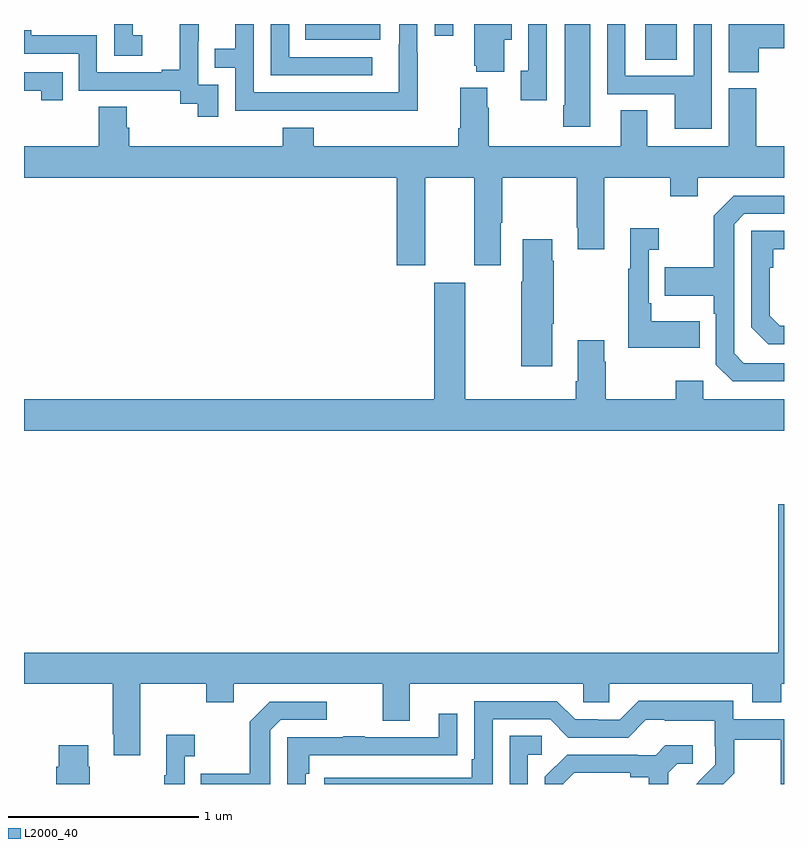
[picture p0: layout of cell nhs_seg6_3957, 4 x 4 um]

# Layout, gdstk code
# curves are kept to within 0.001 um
import gdstk
lib = gdstk.Library(unit=1e-6, precision=1e-09)
def R(c, l, rs):  # rectangles x0, y0, x1, y1
    for r in rs: c.add(gdstk.rectangle(r[:2], r[2:], *l))
def P(c, l, *ps):  # polygons
    for p in ps: c.add(gdstk.Polygon(p, *l))
L2000_40 = (2000, 40)

nhs_seg6_3957 = lib.new_cell('nhs_seg6_3957')
R(nhs_seg6_3957, L2000_40, [(348.269,925.312,348.436,925.5), (346.48,925.418,346.876,925.5), (347.163,925.437,347.259,925.5)])
P(nhs_seg6_3957, L2000_40, [(347.527,925.418),(347.566,925.418),(347.566,925.5),(347.369,925.5),(347.369,925.281),(347.381,925.281),(347.381,925.25),(347.527,925.25)],
  [(346.023,925.179),(345.918,925.179),(345.918,925.409),(345.92,925.409),(345.92,925.5),(345.821,925.5),(345.821,925.258),(345.725,925.258),(345.725,925.245),(345.384,925.245),(345.384,925.44),(345.039,925.44),(345.039,925.467),(345,925.467),(345,925.344),(345.288,925.344),(345.288,925.149),(345.822,925.149),(345.822,925.081),(345.915,925.081),(345.915,925.011),(346.023,925.011)],
  [(348.867,925.372),(349,925.372),(349,925.5),(348.71,925.5),(348.71,925.246),(348.867,925.246)],
  [(347.751,925.5),(347.655,925.5),(347.655,925.254),(347.615,925.254),(347.615,925.098),(347.751,925.098)],
  [(347.073,925.349),(347.07,925.349),(347.07,925.5),(346.974,925.5),(346.974,925.394),(346.973,925.394),(346.973,925.14),(346.209,925.14),(346.209,925.5),(346.113,925.5),(346.113,925.37),(346.003,925.37),(346.003,925.269),(346.113,925.269),(346.113,925.044),(346.609,925.044),(346.609,925.043),(347.073,925.043)],
  [(348.621,925.5),(348.525,925.5),(348.525,925.227),(348.165,925.227),(348.165,925.5),(348.069,925.5),(348.069,925.131),(348.425,925.131),(348.425,924.95),(348.621,924.95)],
  [(345.622,925.441),(345.573,925.441),(345.573,925.5),(345.474,925.5),(345.474,925.332),(345.622,925.332)],
  [(346.834,925.326),(346.395,925.326),(346.395,925.5),(346.299,925.5),(346.299,925.23),(346.834,925.23)],
  [(347.98,925.5),(347.846,925.5),(347.846,925.072),(347.839,925.072),(347.839,924.96),(347.98,924.96)],
  [(345.203,925.245),(345,925.245),(345,925.149),(345.092,925.149),(345.092,925.098),(345.203,925.098)],
  [(347.113,924.692),(347.369,924.692),(347.369,924.231),(347.509,924.231),(347.509,924.454),(347.517,924.454),(347.517,924.692),(347.908,924.692),(347.908,924.427),(347.915,924.427),(347.915,924.315),(348.055,924.315),(348.055,924.692),(348.4,924.692),(348.4,924.593),(348.547,924.593),(348.547,924.692),(349,924.692),(349,924.856),(348.854,924.856),(348.854,925.161),(348.71,925.161),(348.71,924.856),(348.28,924.856),(348.28,925.046),(348.14,925.046),(348.14,924.856),(347.445,924.856),(347.445,925.058),(347.437,925.058),(347.437,925.165),(347.297,925.165),(347.297,924.952),(347.285,924.952),(347.285,924.856),(346.526,924.856),(346.526,924.955),(346.361,924.955),(346.361,924.856),(345.554,924.856),(345.554,924.954),(345.541,924.954),(345.541,925.064),(345.394,925.064),(345.394,924.856),(345,924.856),(345,924.692),(346.961,924.692),(346.961,924.231),(347.113,924.231)],
  [(349,923.715),(348.789,923.715),(348.738,923.766),(348.738,924.447),(348.792,924.501),(349,924.501),(349,924.597),(348.735,924.597),(348.63,924.491),(348.63,924.219),(348.373,924.219),(348.373,924.071),(348.63,924.071),(348.63,923.975),(348.642,923.975),(348.642,923.706),(348.729,923.619),(349,923.619)],
  [(348.557,923.935),(348.301,923.935),(348.301,924.031),(348.288,924.031),(348.288,924.311),(348.34,924.311),(348.34,924.424),(348.191,924.424),(348.191,924.211),(348.18,924.211),(348.18,923.795),(348.557,923.795)],
  [(349,923.911),(348.977,923.911),(348.924,923.964),(348.924,924.218),(348.944,924.218),(348.944,924.315),(349,924.315),(349,924.411),(348.828,924.411),(348.828,923.904),(348.918,923.814),(349,923.814)],
  [(347.779,923.923),(347.787,923.923),(347.787,924.254),(347.779,924.254),(347.779,924.367),(347.624,924.367),(347.624,924.143),(347.617,924.143),(347.617,923.7),(347.779,923.7)],
  [(349,923.524),(348.576,923.524),(348.576,923.623),(348.43,923.623),(348.43,923.524),(348.063,923.524),(348.063,923.723),(348.055,923.723),(348.055,923.836),(347.915,923.836),(347.915,923.62),(347.903,923.62),(347.903,923.524),(347.323,923.524),(347.323,924.139),(347.159,924.139),(347.159,923.524),(345,923.524),(345,923.36),(349,923.36)],
  [(345,922.028),(345.466,922.028),(345.466,921.763),(345.473,921.763),(345.473,921.651),(345.613,921.651),(345.613,922.028),(345.958,922.028),(345.958,921.929),(346.105,921.929),(346.105,922.028),(346.889,922.028),(346.889,921.834),(347.029,921.834),(347.029,922.028),(347.943,922.028),(347.943,921.93),(348.081,921.93),(348.081,922.028),(348.833,922.028),(348.833,921.929),(348.986,921.929),(348.986,922.028),(349,922.028),(349,922.972),(348.971,922.972),(348.971,922.192),(345,922.192)],
  [(347.466,921.84),(347.769,921.84),(347.865,921.744),(348.18,921.744),(348.273,921.837),(348.373,921.837),(348.373,921.833),(348.636,921.833),(348.636,921.699),(348.638,921.699),(348.638,921.602),(348.564,921.528),(348.565,921.527),(348.538,921.5),(348.68,921.5),(348.737,921.557),(348.737,921.732),(348.982,921.732),(348.982,921.508),(348.984,921.508),(348.984,921.5),(349,921.5),(349,921.84),(348.732,921.84),(348.732,921.937),(348.235,921.937),(348.135,921.837),(348.02,921.837),(348.02,921.84),(347.901,921.84),(347.805,921.936),(347.37,921.936),(347.37,921.631),(347.357,921.631),(347.357,921.534),(346.581,921.534),(346.581,921.5),(347.466,921.5)],
  [(346.296,921.783),(346.35,921.837),(346.594,921.837),(346.594,921.933),(346.293,921.933),(346.188,921.827),(346.188,921.555),(345.931,921.555),(345.931,921.5),(346.296,921.5)],
  [(346.482,921.554),(346.502,921.554),(346.502,921.651),(347.177,921.651),(347.177,921.652),(347.279,921.652),(347.279,921.871),(347.183,921.871),(347.183,921.747),(346.793,921.747),(346.793,921.752),(346.681,921.752),(346.681,921.747),(346.386,921.747),(346.386,921.5),(346.482,921.5)],
  [(345.846,921.647),(345.898,921.647),(345.898,921.76),(345.749,921.76),(345.749,921.547),(345.738,921.547),(345.738,921.5),(345.846,921.5)],
  [(347.652,921.654),(347.725,921.654),(347.725,921.755),(347.556,921.755),(347.556,921.5),(347.652,921.5)],
  [(347.839,921.501),(347.896,921.558),(348.191,921.558),(348.191,921.536),(348.287,921.536),(348.287,921.5),(348.391,921.5),(348.391,921.559),(348.438,921.606),(348.52,921.606),(348.52,921.703),(348.376,921.703),(348.324,921.651),(348.23,921.651),(348.23,921.654),(347.858,921.654),(347.742,921.538),(347.742,921.5)],
  [(345.345,921.59),(345.337,921.59),(345.337,921.703),(345.182,921.703),(345.182,921.59),(345.17,921.59),(345.17,921.5),(345.345,921.5)])

lib.write_gds('nhs_seg6_3957.gds')
